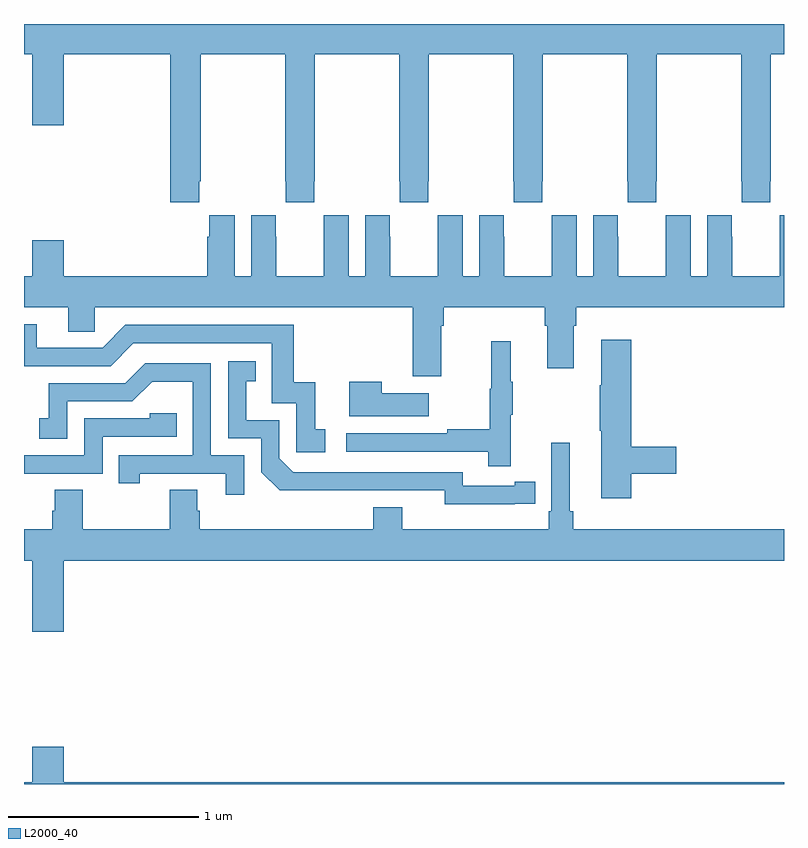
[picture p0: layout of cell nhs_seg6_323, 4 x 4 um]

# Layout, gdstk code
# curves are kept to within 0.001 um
import gdstk
lib = gdstk.Library(unit=1e-6, precision=1e-09)
def P(c, l, *ps):  # polygons
    for p in ps: c.add(gdstk.Polygon(p, *l))
L2000_40 = (2000, 40)

nhs_seg6_323 = lib.new_cell('nhs_seg6_323')
P(nhs_seg6_323, L2000_40, [(129.923,942.673),(129.93,942.673),(129.93,943.34),(130.375,943.34),(130.375,942.673),(130.377,942.673),(130.377,942.561),(130.527,942.561),(130.527,942.673),(130.53,942.673),(130.53,943.34),(130.975,943.34),(130.975,942.673),(130.977,942.673),(130.977,942.561),(131.127,942.561),(131.127,942.673),(131.13,942.673),(131.13,943.34),(131.575,943.34),(131.575,942.673),(131.577,942.673),(131.577,942.561),(131.727,942.561),(131.727,942.673),(131.73,942.673),(131.73,943.34),(132.175,943.34),(132.175,942.673),(132.177,942.673),(132.177,942.561),(132.327,942.561),(132.327,942.673),(132.33,942.673),(132.33,943.34),(132.775,943.34),(132.775,942.673),(132.777,942.673),(132.777,942.561),(132.927,942.561),(132.927,942.673),(132.93,942.673),(132.93,943.34),(133,943.34),(133,943.5),(129,943.5),(129,943.34),(129.044,943.34),(129.044,942.966),(129.208,942.966),(129.208,943.34),(129.77,943.34),(129.77,942.561),(129.923,942.561)],
  [(133,942.493),(132.978,942.493),(132.978,942.38),(132.977,942.38),(132.977,942.172),(132.727,942.172),(132.727,942.38),(132.726,942.38),(132.726,942.493),(132.596,942.493),(132.596,942.172),(132.508,942.172),(132.508,942.493),(132.378,942.493),(132.378,942.38),(132.377,942.38),(132.377,942.172),(132.127,942.172),(132.127,942.38),(132.126,942.38),(132.126,942.493),(131.996,942.493),(131.996,942.172),(131.908,942.172),(131.908,942.493),(131.778,942.493),(131.778,942.38),(131.777,942.38),(131.777,942.172),(131.527,942.172),(131.527,942.38),(131.526,942.38),(131.526,942.493),(131.396,942.493),(131.396,942.172),(131.308,942.172),(131.308,942.493),(131.178,942.493),(131.178,942.38),(131.177,942.38),(131.177,942.172),(130.927,942.172),(130.927,942.38),(130.926,942.38),(130.926,942.493),(130.796,942.493),(130.796,942.172),(130.708,942.172),(130.708,942.493),(130.578,942.493),(130.578,942.38),(130.577,942.38),(130.577,942.172),(130.327,942.172),(130.327,942.38),(130.326,942.38),(130.326,942.493),(130.196,942.493),(130.196,942.172),(130.108,942.172),(130.108,942.493),(129.974,942.493),(129.974,942.38),(129.965,942.38),(129.965,942.172),(129.208,942.172),(129.208,942.361),(129.044,942.361),(129.044,942.172),(129,942.172),(129,942.008),(129.233,942.008),(129.233,941.881),(129.372,941.881),(129.372,942.008),(131.045,942.008),(131.045,941.646),(131.197,941.646),(131.197,941.912),(131.21,941.912),(131.21,942.008),(131.741,942.008),(131.741,941.912),(131.753,941.912),(131.753,941.688),(131.893,941.688),(131.893,941.912),(131.906,941.912),(131.906,942.008),(133,942.008)],
  [(130.585,941.367),(130.532,941.367),(130.532,941.614),(130.421,941.614),(130.421,941.916),(129.534,941.916),(129.414,941.796),(129.067,941.796),(129.067,941.919),(129,941.919),(129,941.7),(129.456,941.7),(129.576,941.82),(130.305,941.82),(130.305,941.505),(130.434,941.505),(130.434,941.247),(130.585,941.247)],
  [(132.197,941.134),(132.433,941.134),(132.433,941.276),(132.197,941.276),(132.197,941.839),(132.038,941.839),(132.038,941.6),(132.031,941.6),(132.031,941.359),(132.038,941.359),(132.038,941.004),(132.197,941.004)],
  [(131.561,941.443),(131.572,941.443),(131.572,941.617),(131.561,941.617),(131.561,941.83),(131.458,941.83),(131.458,941.58),(131.451,941.58),(131.451,941.366),(131.227,941.366),(131.227,941.346),(130.695,941.346),(130.695,941.25),(131.443,941.25),(131.443,941.172),(131.561,941.172)],
  [(131.582,940.974),(131.69,940.974),(131.69,941.09),(131.582,941.09),(131.582,941.07),(131.31,941.07),(131.31,941.142),(130.416,941.142),(130.344,941.214),(130.344,941.415),(130.171,941.415),(130.171,941.619),(130.22,941.619),(130.22,941.725),(130.074,941.725),(130.074,941.319),(130.248,941.319),(130.248,941.142),(130.346,941.045),(131.214,941.046),(131.214,940.973)],
  [(130.158,941.229),(129.984,941.229),(129.984,941.715),(129.638,941.715),(129.533,941.61),(129.13,941.61),(129.13,941.425),(129.081,941.425),(129.081,941.316),(129.228,941.316),(129.228,941.514),(129.57,941.514),(129.674,941.618),(129.888,941.618),(129.888,941.229),(129.499,941.229),(129.499,941.082),(129.61,941.082),(129.61,941.133),(130.061,941.133),(130.061,941.022),(130.158,941.022)],
  [(131.131,941.557),(130.883,941.557),(130.883,941.617),(130.712,941.617),(130.712,941.435),(131.131,941.435)],
  [(129.414,941.328),(129.803,941.328),(129.803,941.451),(129.663,941.451),(129.663,941.424),(129.318,941.424),(129.318,941.229),(129,941.229),(129,941.133),(129.414,941.133)],
  [(129.208,940.676),(133,940.676),(133,940.84),(131.891,940.84),(131.891,940.936),(131.872,940.936),(131.872,941.296),(131.775,941.296),(131.775,940.936),(131.762,940.936),(131.762,940.84),(130.99,940.84),(130.99,940.957),(130.838,940.957),(130.838,940.84),(129.926,940.84),(129.926,940.938),(129.913,940.938),(129.913,941.048),(129.766,941.048),(129.766,940.84),(129.309,940.84),(129.309,941.048),(129.161,941.048),(129.161,940.938),(129.149,940.938),(129.149,940.84),(129,940.84),(129,940.676),(129.044,940.676),(129.044,940.302),(129.208,940.302)],
  [(133,939.508),(129.208,939.508),(129.208,939.697),(129.044,939.697),(129.044,939.508),(129,939.508),(129,939.5),(133,939.5)])

lib.write_gds('nhs_seg6_323.gds')
